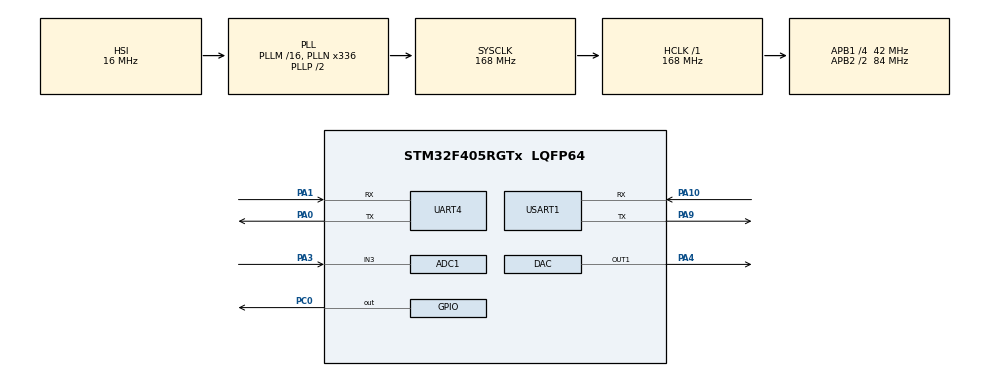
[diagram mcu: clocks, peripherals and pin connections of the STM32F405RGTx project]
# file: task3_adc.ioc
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ADC1.Channel-0\#ChannelRegularConversion=ADC_CHANNEL_3
ADC1.ClockPrescaler=ADC_CLOCK_SYNC_PCLK_DIV8
ADC1.ContinuousConvMode=ENABLE
ADC1.DMAContinuousRequests=ENABLE
ADC1.ExternalTrigConv=ADC_SOFTWARE_START
ADC1.NbrOfConversionFlag=1
ADC1.Rank-0\#ChannelRegularConversion=1
ADC1.SamplingTime-0\#ChannelRegularConversion=ADC_SAMPLETIME_3CYCLES
ADC1.master=1
Dma.ADC1.0.Direction=DMA_PERIPH_TO_MEMORY
Dma.ADC1.0.FIFOMode=DMA_FIFOMODE_DISABLE
Dma.ADC1.0.Instance=DMA2_Stream0
Dma.ADC1.0.MemDataAlignment=DMA_MDATAALIGN_HALFWORD
Dma.ADC1.0.MemInc=DMA_MINC_ENABLE
Dma.ADC1.0.Mode=DMA_CIRCULAR
Dma.ADC1.0.PeriphDataAlignment=DMA_PDATAALIGN_HALFWORD
Dma.ADC1.0.PeriphInc=DMA_PINC_DISABLE
Dma.ADC1.0.Priority=DMA_PRIORITY_HIGH
Dma.Request0=ADC1
Dma.Request1=UART4_RX
Dma.UART4_RX.1.Direction=DMA_PERIPH_TO_MEMORY
Dma.UART4_RX.1.FIFOMode=DMA_FIFOMODE_DISABLE
Dma.UART4_RX.1.Instance=DMA1_Stream2
Dma.UART4_RX.1.MemDataAlignment=DMA_MDATAALIGN_BYTE
Dma.UART4_RX.1.MemInc=DMA_MINC_ENABLE
Dma.UART4_RX.1.Mode=DMA_CIRCULAR
Dma.UART4_RX.1.PeriphDataAlignment=DMA_PDATAALIGN_BYTE
Dma.UART4_RX.1.PeriphInc=DMA_PINC_DISABLE
Dma.UART4_RX.1.Priority=DMA_PRIORITY_LOW
Mcu.Family=STM32F4
Mcu.Name=STM32F405RGTx
Mcu.Package=LQFP64
NVIC.DMA1_Stream2_IRQn=true\:0\:0\:false\:false\:true\:false\:true\:true
NVIC.DMA2_Stream0_IRQn=true\:0\:0\:false\:false\:true\:false\:true\:true
NVIC.PriorityGroup=NVIC_PRIORITYGROUP_4
NVIC.TIM3_IRQn=true\:0\:0\:false\:false\:true\:true\:true\:true
NVIC.UART4_IRQn=true\:0\:0\:false\:false\:true\:true\:true\:true
PA0-WKUP.GPIO_PuPd=GPIO_PULLUP
PA0-WKUP.Mode=Asynchronous
PA0-WKUP.Signal=UART4_TX
PA1.GPIO_PuPd=GPIO_PULLUP
PA1.Mode=Asynchronous
PA1.Signal=UART4_RX
PA10.GPIO_PuPd=GPIO_PULLUP
PA10.Mode=Asynchronous
PA10.Signal=USART1_RX
PA13.Mode=Serial_Wire
PA13.Signal=SYS_JTMS-SWDIO
PA14.Mode=Serial_Wire
PA14.Signal=SYS_JTCK-SWCLK
PA3.Signal=ADCx_IN3
PA4.Signal=COMP_DAC1_group
PA9.GPIO_PuPd=GPIO_PULLUP
PA9.Mode=Asynchronous
PA9.Signal=USART1_TX
PC0.GPIO_PuPd=GPIO_NOPULL
PC0.Signal=GPIO_Output
ProjectManager.HeapSize=0x200
ProjectManager.StackSize=0x400
ProjectManager.TargetToolchain=MDK-ARM V5.32
RCC.48MHZClocksFreq_Value=84000000
RCC.AHBFreq_Value=168000000
RCC.APB1CLKDivider=RCC_HCLK_DIV4
RCC.APB1Freq_Value=42000000
RCC.APB1TimFreq_Value=84000000
RCC.APB2CLKDivider=RCC_HCLK_DIV2
RCC.APB2Freq_Value=84000000
RCC.APB2TimFreq_Value=168000000
RCC.CortexFreq_Value=168000000
RCC.HCLKFreq_Value=168000000
RCC.HSE_VALUE=25000000
RCC.HSI_VALUE=16000000
RCC.LSE_VALUE=32768
RCC.PLLN=336
RCC.SYSCLKFreq_VALUE=168000000
RCC.SYSCLKSource=RCC_SYSCLKSOURCE_PLLCLK
RCC.VCOOutputFreq_Value=336000000
SH.ADCx_IN3.0=ADC1_IN3,IN3
SH.COMP_DAC1_group.0=DAC_OUT1,DAC_OUT1
TIM3.AutoReloadPreload=TIM_AUTORELOAD_PRELOAD_ENABLE
TIM3.Period=99
TIM3.Prescaler=8399
UART4.VirtualMode=Asynchronous
USART1.VirtualMode=VM_ASYNC
VP_TIM3_VS_ClockSourceINT.Mode=Internal
board=custom

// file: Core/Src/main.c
/* USER CODE BEGIN Header */
/**
  ******************************************************************************
  * @file           : main.c
  * @brief          : Main program body
  ******************************************************************************
  * @attention
  *
  * Copyright (c) 2022 STMicroelectronics.
  * All rights reserved.
  *
  * This software is licensed under terms that can be found in the LICENSE file
  * in the root directory of this software component.
  * If no LICENSE file comes with this software, it is provided AS-IS.
  *
  ******************************************************************************
  */
/* USER CODE END Header */
#include "main.h"
#include "adc.h"
#include "dac.h"
#include "dma.h"
#include "tim.h"
#include "usart.h"
#include "gpio.h"

/* USER CODE BEGIN Includes */
#include "VGUS.h"
#include "switch.h"
#include "stdio.h"
/* USER CODE END Includes */

/* USER CODE BEGIN PD */
#define vout_address 0x0030

#define CAL_I0_K	3300.0//采样电流矫正K值
#define CAL_I0_B	0//采样电流矫正B值
/* USER CODE END PD */

/* USER CODE BEGIN PV */
uint16_t ADC1_RESULT[100]={0};//ADC采样外设到内存的DMA数据保存寄存器
uint32_t Value;   //存储平均值
float I0_Value=0;

/*串口接收变量*/
struct Receive uart_receive = {0};
struct Receive_data uart_data = {0};

double   Vr0 = 0;
uint16_t Ir0[1] = {0};
uint16_t flag_test = 0;

double Vdac = 1.167,Vout = 5;	//输出电压模拟量1.16
int32_t   Vdac_dig = 1444;//输出电压数字量——初始值的设置需要调整1448

int change = 0, power = 0;

/*临时定义的指令，代码调整的时候需要修改*/
uint8_t back_on_buff[7]={0xA5,0x5A,0x04,0x80,0x03,0x00,0x01};			//返回主界面（电源开）指令
uint8_t back_off_buff[7]={0xA5,0x5A,0x04,0x80,0x03,0x00,0x02};			//返回主界面（电源关）指令
/* USER CODE END PV */

void SystemClock_Config(void);
/* USER CODE BEGIN PFP */
void ADC_Dxpd(void);
double ADC_Average(void);
/* USER CODE END PFP */

int main(void)
{

  /* MCU Configuration--------------------------------------------------------*/

  /* Reset of all peripherals, Initializes the Flash interface and the Systick. */
  HAL_Init();

  /* Configure the system clock */
  SystemClock_Config();

  /* Initialize all configured peripherals */
  MX_GPIO_Init();
  MX_DMA_Init();
  MX_ADC1_Init();
  MX_TIM3_Init();
  MX_DAC_Init();
  MX_UART4_Init();
  MX_USART1_UART_Init();
  /* USER CODE BEGIN 2 */
	HAL_TIM_Base_Start_IT(&htim3);//启动定时器
	//HAL_ADCEx_Calibration_Start(&hadc1);
	HAL_ADC_Start_DMA(&hadc1, (uint32_t*)ADC1_RESULT, 100);//启动ADC1采样 DMA数据传送采样输入输出电压电流

	HAL_DAC_SetValue(&hdac, DAC_CHANNEL_1, DAC_ALIGN_12B_R, Vdac_dig);
  HAL_DAC_Start(&hdac, DAC_CHANNEL_1);

	Send_Voltage(Vout,vout_address);
  /* USER CODE END 2 */

  /* Infinite loop */
  while (1)
  {

    /* USER CODE BEGIN 3 */
		if(uart_receive.data_Receive_done)
		{
			uart_data  = analysis_VGUS_data(uart_receive.receive_data);
			/*		判断是哪一个按键    */
			if(uart_data.data[1] == 0xA0)//
			{
				power = 0;//打开电源
				HAL_UART_Transmit(&huart4, back_on_buff, sizeof(back_on_buff),0x00ff);
				SWITCH_ON();
			}
			else if(uart_data.data[1] == 0xA1)
			{
				power = 1;//关闭电源
				HAL_UART_Transmit(&huart4, back_off_buff, sizeof(back_off_buff),0x00ff);
				SWITCH_OFF();
			}
			else if(uart_data.data[1] == 0xB1){
				change = 1;//电压上调
			}
			else if(uart_data.data[1] == 0xB2){
				change = -1;//电压下调
			}
			else if(uart_data.data[1] == 0xC0)
			{
				if(power == 0)
				{
					HAL_UART_Transmit(&huart4, back_on_buff, sizeof(back_on_buff),0x00ff);
				}
				else if(power == 1)
				{
					HAL_UART_Transmit(&huart4, back_off_buff, sizeof(back_off_buff),0x00ff);
				}
			}
			if(change != 0)
			{
				Vout = 0.1*change + Vout;
				Vdac = -0.1*change/2.99 +Vdac;
				Vdac_dig = (int32_t)(Vdac*4096/3.3);
				HAL_DAC_SetValue(&hdac, DAC_CHANNEL_1, DAC_ALIGN_12B_R, Vdac_dig);
				change = 0;
			}
			/*		更新显示数据			*/
					//发送新的电压数据
			Send_Voltage(Vout,vout_address);
			uart_receive.data_Receive_done = 0;
		}

  }
  /* USER CODE END 3 */
}

void SystemClock_Config(void)
{
  RCC_OscInitTypeDef RCC_OscInitStruct = {0};
  RCC_ClkInitTypeDef RCC_ClkInitStruct = {0};

  /** Configure the main internal regulator output voltage
  */
  __HAL_RCC_PWR_CLK_ENABLE();
  __HAL_PWR_VOLTAGESCALING_CONFIG(PWR_REGULATOR_VOLTAGE_SCALE1);

  /** Initializes the RCC Oscillators according to the specified parameters
  * in the RCC_OscInitTypeDef structure.
  */
  RCC_OscInitStruct.OscillatorType = RCC_OSCILLATORTYPE_HSI;
  RCC_OscInitStruct.HSIState = RCC_HSI_ON;
  RCC_OscInitStruct.HSICalibrationValue = RCC_HSICALIBRATION_DEFAULT;
  RCC_OscInitStruct.PLL.PLLState = RCC_PLL_ON;
  RCC_OscInitStruct.PLL.PLLSource = RCC_PLLSOURCE_HSI;
  RCC_OscInitStruct.PLL.PLLM = 16;
  RCC_OscInitStruct.PLL.PLLN = 336;
  RCC_OscInitStruct.PLL.PLLP = RCC_PLLP_DIV2;
  RCC_OscInitStruct.PLL.PLLQ = 4;
  if (HAL_RCC_OscConfig(&RCC_OscInitStruct) != HAL_OK)
  {
    Error_Handler();
  }

  /** Initializes the CPU, AHB and APB buses clocks
  */
  RCC_ClkInitStruct.ClockType = RCC_CLOCKTYPE_HCLK|RCC_CLOCKTYPE_SYSCLK
                              |RCC_CLOCKTYPE_PCLK1|RCC_CLOCKTYPE_PCLK2;
  RCC_ClkInitStruct.SYSCLKSource = RCC_SYSCLKSOURCE_PLLCLK;
  RCC_ClkInitStruct.AHBCLKDivider = RCC_SYSCLK_DIV1;
  RCC_ClkInitStruct.APB1CLKDivider = RCC_HCLK_DIV4;
  RCC_ClkInitStruct.APB2CLKDivider = RCC_HCLK_DIV2;

  if (HAL_RCC_ClockConfig(&RCC_ClkInitStruct, FLASH_LATENCY_5) != HAL_OK)
  {
    Error_Handler();
  }
}

/* USER CODE BEGIN 4 */
/*
** ===================================================================
**     Funtion Name :   void ADCSample(void)
**     Description :    采样输出电流
**     Parameters  :
**     Returns     :
** ===================================================================
*/
void ADCSample(void)
{
	//输入输出采样参数求和，用以计算平均值
	static double I0AvgSum=0;

	Value = 0;

//	ADC_Dxpd();
//	Value = ADC_Average();
	for(int i=0;i<100;i++)
			Value += ADC1_RESULT[i];			//100次数字累加和
	Value = Value  / 100.0;					//取平均值

	//从DMA缓冲器中获取数据,并对其进行线性矫正-采用线性矫正

	I0_Value  = Value*33.0/40.96;
	if(I0_Value<=1)//8
		I0_Value = 0;//采样有零偏离，采样值很小时，直接为0

	//计算各个采样值的平均值-滑动平均方式
	I0AvgSum = I0AvgSum + I0_Value -(I0AvgSum/4);//求和，新增入一个新的采样值，同时减去之前的平均值。
	Ir0[0] = I0AvgSum/0.4 ;
	if(Ir0[0]<=10)
		Ir0[0] = 0;

//	if(Vout>7)
//		Ir0[0]+=10;
//	else if(Vout<4)
//		Ir0[0]-=10;

	//Vr0=V0_Value*3300.0/4096.0;  //ADC最大值为4096，代表3300mV
	//Ir0[0] = Vr0 / 0.1;		//I = V/R V单位是mv R单位是欧姆 I单位是mA
}

/*
** ===================================================================
**     Funtion Name :int fputc(int ch, FILE *f)
**     Description :    fput重新定义，将printf重新定向到串口一输出
**     Parameters  :
**     Returns     :
** ===================================================================
*/
int fputc(int ch, FILE *f)

{

  HAL_UART_Transmit(&huart1, (uint8_t *)&ch, 1, 0xffff);

  return ch;

}

/* USER CODE END 4 */

void Error_Handler(void)
{
  __disable_irq();
  while (1)
  {
  }
}
